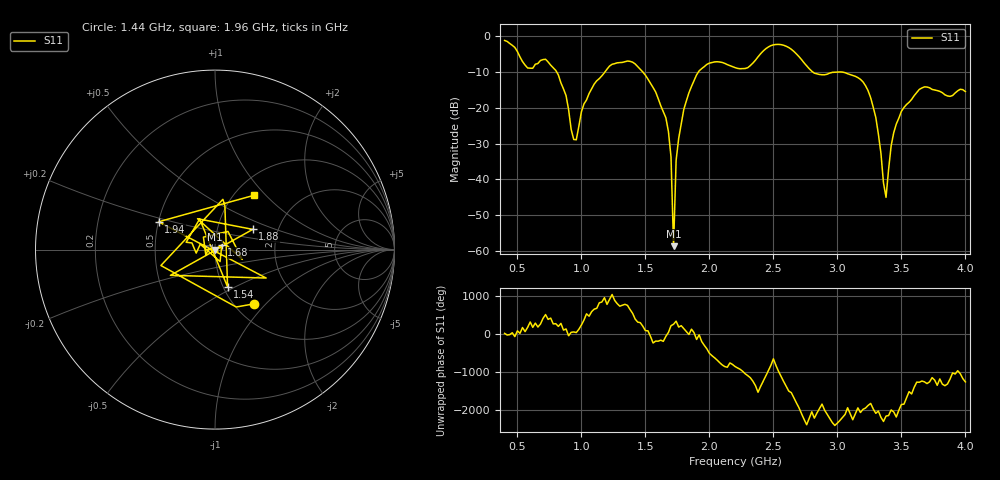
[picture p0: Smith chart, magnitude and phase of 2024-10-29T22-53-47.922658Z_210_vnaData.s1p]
!Created with skrf (http://scikit-rf.org).
# Hz S RI R 50.0
!freq ReS11 ImS11
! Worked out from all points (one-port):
!   181 points, 400 MHz to 4 GHz, reference 50 ohm
!   lowest |S11| = -58.6 dB at 1.72 GHz (marker M1), VSWR 1.00, Z = 50 - j0.11 ohm
!   |S11| at or under -10 dB: 805.9 MHz to 1.185 GHz (378.9 MHz wide, 38.1 % of centre); 1.478 GHz to 1.915 GHz (436.8 MHz wide, 25.7 % of centre); 2.806 GHz to end of sweep
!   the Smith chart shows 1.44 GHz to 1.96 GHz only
!   S11 on the Smith chart (normalised r, x): 1.44 GHz: 1.23, -0.86; 1.54 GHz: 1.05, -0.46; 1.68 GHz: 1.08, +0.06; 1.88 GHz: 1.48, +0.35; 1.94 GHz: 0.50, +0.18; 1.96 GHz: 1.23, +0.86
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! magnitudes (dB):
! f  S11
! 400 MHz  -1.3
! 580 MHz  -8.9
! 720 MHz  -6.5
! 860 MHz  -14.8
! 960 MHz  -28.9
! 1.1 GHz  -13.4
! 1.3 GHz  -7.4
! 1.44 GHz  -8.6
! 1.54 GHz  -13.2
! 1.68 GHz  -26.7
! 1.7 GHz  -33.7
! 1.72 GHz  -58.6
! 1.74 GHz  -34.6
! 1.76 GHz  -28.6
! 1.88 GHz  -12.4
! 1.94 GHz  -9.1
! 1.96 GHz  -8.6
! 2.2 GHz  -8.8
! 2.66 GHz  -4.3
! 2.82 GHz  -10.4
! 3.1 GHz  -10.8
! 3.26 GHz  -17.2
! 3.32 GHz  -27.3
! 3.38 GHz  -45.0
! 3.44 GHz  -27.0
! 3.56 GHz  -18.5
! 3.68 GHz  -14.2
! 4 GHz  -15.5
